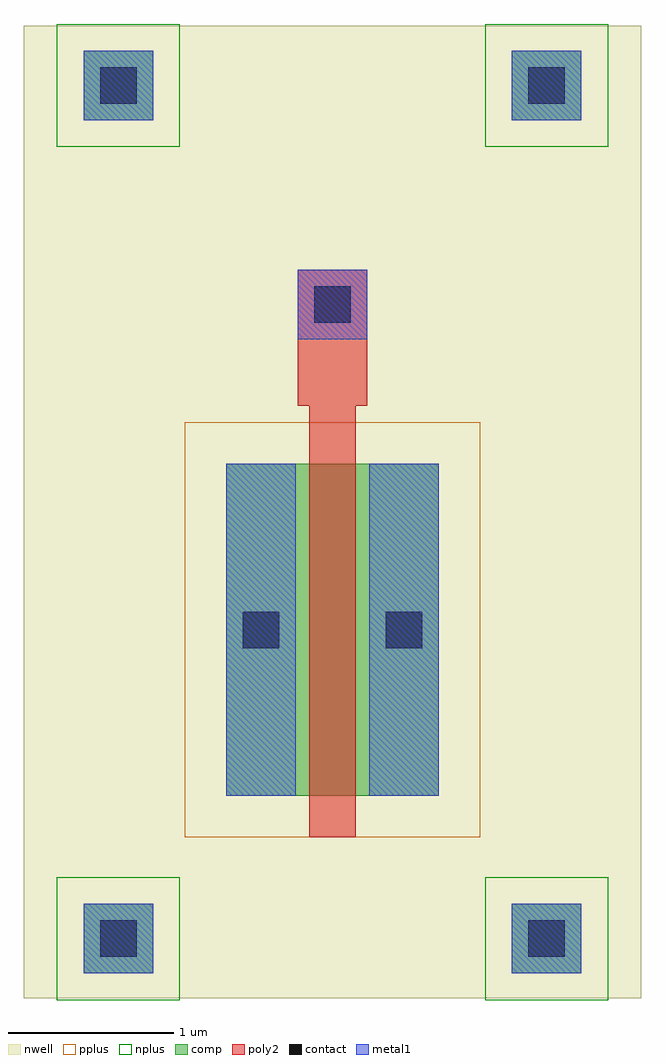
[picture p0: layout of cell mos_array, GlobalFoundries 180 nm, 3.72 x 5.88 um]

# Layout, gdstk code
import gdstk
lib = gdstk.Library(unit=1e-6, precision=5e-10)
def R(c, l, rs):  # rectangles x0, y0, x1, y1
    for r in rs: c.add(gdstk.rectangle(r[:2], r[2:], *l))
nwell = (21, 0)
comp = (22, 0)
poly2 = (30, 0)
pplus = (31, 0)
nplus = (32, 0)
contact = (33, 0)
metal1 = (34, 0)

mos_array = lib.new_cell('mos_array')
R(mos_array, nwell, [(-1.22,-1.22,2.5,4.64), (-0.15,-0.15,1.43,3.57)])
R(mos_array, comp, [(-0.86,-1.07,-0.44,-0.65), (1.72,-1.07,2.14,-0.65), (0,0,1.28,2), (-0.86,4.07,-0.44,4.49), (1.72,4.07,2.14,4.49)])
R(mos_array, poly2, [(0.5,-0.25,0.78,2), (0.5,2,0.78,2.35), (0.43,2.35,0.85,3.17)])
R(mos_array, pplus, [(-0.25,-0.25,1.53,2.25)])
R(mos_array, nplus, [(-1.02,-1.23,-0.28,-0.49), (1.56,-1.23,2.3,-0.49), (-1.02,3.91,-0.28,4.65), (1.56,3.91,2.3,4.65)])
R(mos_array, contact, [(-0.76,-0.97,-0.54,-0.75), (1.82,-0.97,2.04,-0.75), (0.1,0.89,0.32,1.11), (0.96,0.89,1.18,1.11), (0.53,2.85,0.75,3.07), (-0.76,4.17,-0.54,4.39), (1.82,4.17,2.04,4.39)])
R(mos_array, metal1, [(-0.86,-1.07,-0.44,-0.65), (1.72,-1.07,2.14,-0.65), (0,0,0.42,2), (0.86,0,1.28,2), (0.43,2.75,0.85,3.17), (-0.86,4.07,-0.44,4.49), (1.72,4.07,2.14,4.49)])

lib.write_gds('mos_array.gds')
